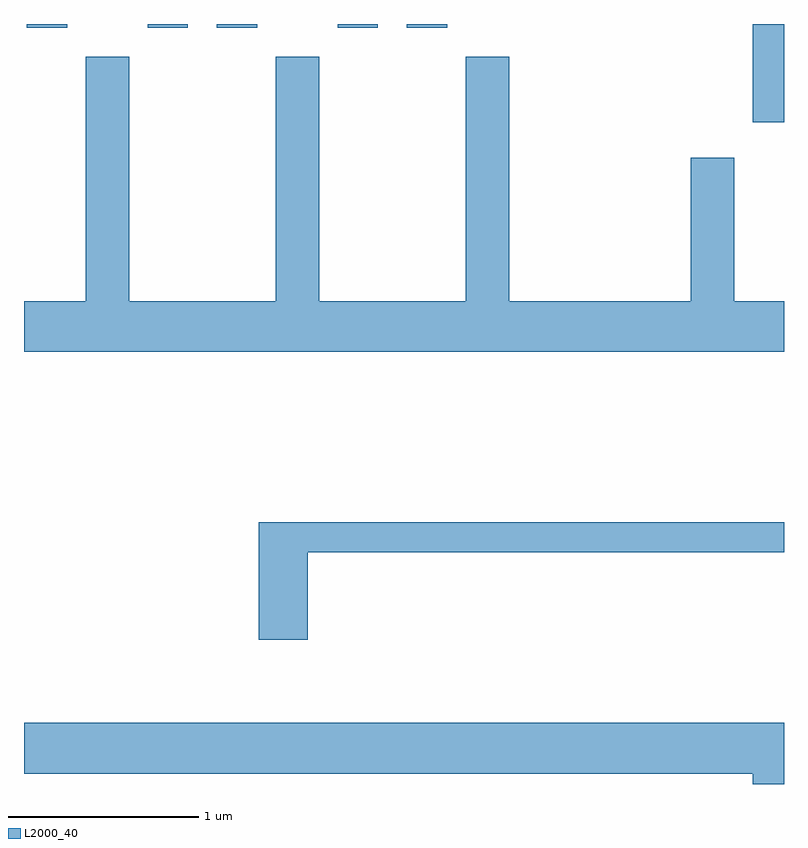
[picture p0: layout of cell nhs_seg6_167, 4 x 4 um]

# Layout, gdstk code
import gdstk
lib = gdstk.Library(unit=1e-6, precision=1e-09)
def R(c, l, rs):  # rectangles x0, y0, x1, y1
    for r in rs: c.add(gdstk.rectangle(r[:2], r[2:], *l))
def P(c, l, *ps):  # polygons
    for p in ps: c.add(gdstk.Polygon(p, *l))
L2000_40 = (2000, 40)

nhs_seg6_167 = lib.new_cell('nhs_seg6_167')
R(nhs_seg6_167, L2000_40, [(193.446,1595.646,193.611,1596.162), (189.626,1596.141,189.839,1596.162), (190.261,1596.141,190.474,1596.162), (190.626,1596.141,190.839,1596.162), (191.261,1596.141,191.474,1596.162), (191.626,1596.141,191.839,1596.162)])
P(nhs_seg6_167, L2000_40, [(193.611,1594.704),(193.349,1594.704),(193.349,1595.459),(193.121,1595.459),(193.121,1594.704),(192.164,1594.704),(192.164,1595.989),(191.936,1595.989),(191.936,1594.704),(191.164,1594.704),(191.164,1595.989),(190.936,1595.989),(190.936,1594.704),(190.164,1594.704),(190.164,1595.989),(189.936,1595.989),(189.936,1594.704),(189.611,1594.704),(189.611,1594.436),(193.611,1594.436)],
  [(191.104,1593.381),(193.611,1593.381),(193.611,1593.539),(190.846,1593.539),(190.846,1592.921),(191.104,1592.921)],
  [(193.611,1592.484),(189.611,1592.484),(189.611,1592.216),(193.446,1592.216),(193.446,1592.162),(193.611,1592.162)])

lib.write_gds('nhs_seg6_167.gds')
